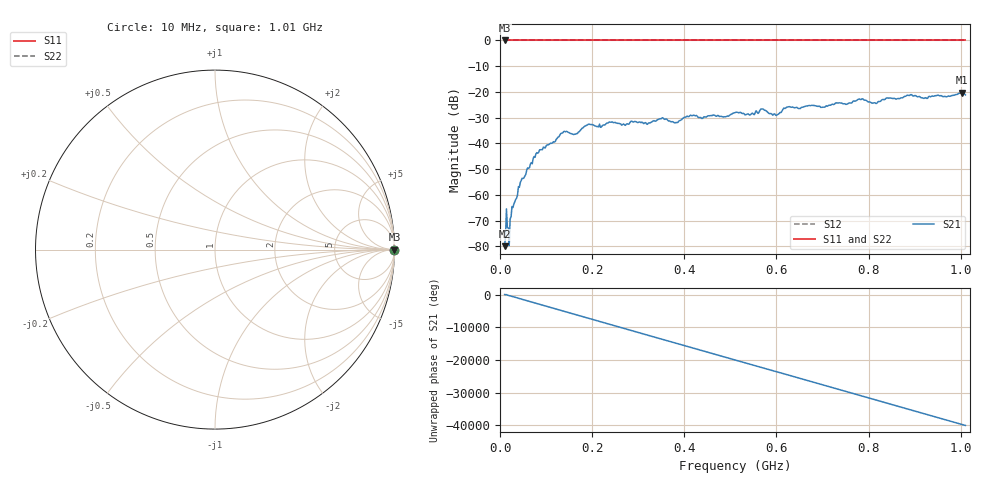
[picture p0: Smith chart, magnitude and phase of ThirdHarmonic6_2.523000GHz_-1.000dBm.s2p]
! 8/17/2025 4:59:01 AM
! C:\ANRITSUVNA\TEMP\TEMP.S2P
! CHANNEL.1
! TR.MEASUREMENT
! RAW.DATA
! RF.CORRECTION.OFF
! AVERAGING.OFF
! IF.BANDWIDTH: 5KHZ
! SWEEPTYPE:  FREQ.SWEEP(Linear)
! Reference Plane Port Info
! PORT:  PORT1  PORT2
! DISTANCE:  0  m  0  m
! TIME:  0  s  0  s
! PHASE.OFFSET:  0  deg.  0  deg.
! LOSS:  0  dB  0  dB
! REF.LOSS:  0  dB  0  dB
! REF.FREQ:  0  Hz  0  Hz
! Power Info
! POWER:  -20  dBm  -20  dBm
! EFF.POWER:  -20  dBm  -20  dBm
! SOURCE.ATTEN:  0  dB  0  dB
! TEST.ATTEN:  0  dB  0  dB
# GHZ S RI R 50.0
! FREQ.GHZ  S11RE  S11IM  S21RE  S21IM  S12RE  S12IM  S22RE  S22IM
!; PortSelection: Port_12
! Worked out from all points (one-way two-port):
!   501 points, 10 MHz to 1.01 GHz, reference 50 ohm
!   highest |S21| = -20.25 dB at 1.002 GHz (marker M1); lowest = -79.9 dB at 10 MHz (marker M2)
!   lowest |S11| = 0.0 dB at 10 MHz (marker M3)
!   |S11| at or under -10 dB: nowhere
!   |S22| runs from 0.0 to 0.0 dB; largest |S21 - S12| = 1.1
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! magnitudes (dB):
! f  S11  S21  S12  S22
! 10 MHz  0.0  -79.9  0.0  0.0
! 14 MHz  0.0  -65.4  0.0  0.0
! 20 MHz  0.0  -79.7  0.0  0.0
! 26 MHz  0.0  -64.5  0.0  0.0
! 44 MHz  0.0  -55.2  0.0  0.0
! 76 MHz  0.0  -45.4  0.0  0.0
! 136 MHz  0.0  -35.9  0.0  0.0
! 164 MHz  0.0  -36.4  0.0  0.0
! 178 MHz  0.0  -34.1  0.0  0.0
! 344 MHz  0.0  -30.6  0.0  0.0
! 382 MHz  0.0  -31.9  0.0  0.0
! 416 MHz  0.0  -29.2  0.0  0.0
! 510 MHz  0.0  -28.1  0.0  0.0
! 570 MHz  0.0  -26.6  0.0  0.0
! 602 MHz  0.0  -28.8  0.0  0.0
! 624 MHz  0.0  -25.9  0.0  0.0
! 678 MHz  0.0  -25.2  0.0  0.0
! 782 MHz  0.0  -23.0  0.0  0.0
! 814 MHz  0.0  -24.3  0.0  0.0
! 844 MHz  0.0  -22.4  0.0  0.0
! 1.002 GHz  0.0  -20.2  0.0  0.0
! 1.01 GHz  0.0  -21.1  0.0  0.0
